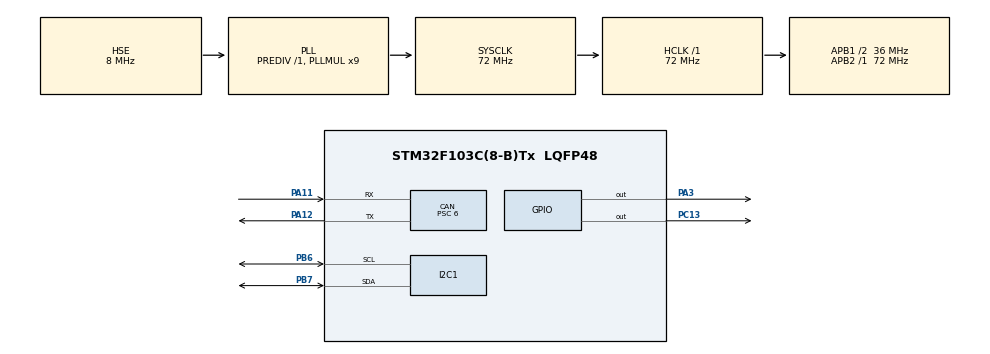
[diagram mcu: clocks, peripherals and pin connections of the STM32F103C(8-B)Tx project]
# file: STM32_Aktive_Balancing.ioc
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CAN.BS1=CAN_BS1_8TQ
CAN.BS2=CAN_BS2_3TQ
CAN.CalculateBaudRate=499999
CAN.CalculateTimeBit=2000
CAN.CalculateTimeQuantum=166.66666666666669
CAN.Prescaler=6
I2C1.DualAddressMode=I2C_DUALADDRESS_DISABLE
I2C1.GeneralCallMode=I2C_GENERALCALL_DISABLE
I2C1.I2C_Mode=I2C_Fast
I2C1.NoStretchMode=I2C_NOSTRETCH_DISABLE
Mcu.Family=STM32F1
Mcu.Name=STM32F103C(8-B)Tx
Mcu.Package=LQFP48
NVIC.PriorityGroup=NVIC_PRIORITYGROUP_4
NVIC.TIM2_IRQn=true\:0\:0\:false\:false\:true\:true\:true\:true
NVIC.USB_LP_CAN1_RX0_IRQn=true\:0\:0\:false\:false\:true\:true\:true\:true
PA11.GPIO_PuPd=GPIO_PULLUP
PA11.Mode=CAN_Activate
PA11.Signal=CAN_RX
PA12.GPIO_Speed=GPIO_SPEED_FREQ_HIGH
PA12.Mode=CAN_Activate
PA12.Signal=CAN_TX
PA13.Mode=Serial_Wire
PA13.Signal=SYS_JTMS-SWDIO
PA14.Mode=Serial_Wire
PA14.Signal=SYS_JTCK-SWCLK
PA3.Signal=GPIO_Output
PB6.GPIO_Speed=GPIO_SPEED_FREQ_HIGH
PB6.Mode=I2C
PB6.Signal=I2C1_SCL
PB7.GPIO_Speed=GPIO_SPEED_FREQ_HIGH
PB7.Mode=I2C
PB7.Signal=I2C1_SDA
PC13-TAMPER-RTC.Signal=GPIO_Output
PD0-OSC_IN.Mode=HSE-External-Oscillator
PD0-OSC_IN.Signal=RCC_OSC_IN
PD1-OSC_OUT.Mode=HSE-External-Oscillator
PD1-OSC_OUT.Signal=RCC_OSC_OUT
ProjectManager.HeapSize=0x200
ProjectManager.StackSize=0x400
ProjectManager.TargetToolchain=STM32CubeIDE
RCC.AHBFreq_Value=72000000
RCC.APB1CLKDivider=RCC_HCLK_DIV2
RCC.APB1Freq_Value=36000000
RCC.APB1TimFreq_Value=72000000
RCC.APB2Freq_Value=72000000
RCC.APB2TimFreq_Value=72000000
RCC.HCLKFreq_Value=72000000
RCC.PLLMUL=RCC_PLL_MUL9
RCC.PLLSourceVirtual=RCC_PLLSOURCE_HSE
RCC.SYSCLKFreq_VALUE=72000000
RCC.SYSCLKSource=RCC_SYSCLKSOURCE_PLLCLK
RCC.USBFreq_Value=72000000
TIM2.ClockDivision=TIM_CLOCKDIVISION_DIV2
TIM2.Period=1999
TIM2.Prescaler=35999
VP_TIM2_VS_ClockSourceINT.Mode=Internal
board=custom

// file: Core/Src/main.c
/* USER CODE BEGIN Header */
/**
  ******************************************************************************
  * @file           : main.c
  * @brief          : Main program body
  ******************************************************************************
  * @attention
  *
  * Copyright (c) 2026 STMicroelectronics.
  * All rights reserved.
  *
  * This software is licensed under terms that can be found in the LICENSE file
  * in the root directory of this software component.
  * If no LICENSE file comes with this software, it is provided AS-IS.
  *
  ******************************************************************************
  */
/* USER CODE END Header */
#include "main.h"

/* USER CODE BEGIN Includes */
#include "MCP4725.h"               // DAC
#include "pcf8575.h"
#include "tca9555.h"

/* USER CODE END Includes */

CAN_HandleTypeDef hcan;

I2C_HandleTypeDef hi2c1;

TIM_HandleTypeDef htim2;

HAL_StatusTypeDef statusDAC;
HAL_StatusTypeDef statusPort;

/* USER CODE BEGIN PV */
CAN_RxHeaderTypeDef rxHeader; 			//CAN Bus Receive Header
CAN_TxHeaderTypeDef txHeader; 			//CAN Bus Transmit Header
uint8_t canRX[8] = {0,0,0,0,0,0,0,0};  	//CAN Bus Receive Buffer
CAN_FilterTypeDef canfil; 				//CAN Bus Filter
uint32_t canMailbox;

uint32_t V_I_Bal_Soll;                   // Angabe in 0.01V (Maximaler Strom 2A => V_I_Bal_Soll=200)
uint32_t V_I_Bal_Soll_neu;
uint32_t V_I_Bal_Soll_Start = 0.01;

volatile uint32_t a = 0;
volatile uint32_t canID;
//volatile uint32_t canByte1;
//uint32_t canByte2;

MCP4725_t mcp4725;                       // DAC-Objekt
uint16_t DAC_digits;                     // 12-Bit Wert für Ausgang vom DAC => Vout = 3.3V * (DAC_digits/4095)

TCA9555_HandleTypeDef tca9555;
uint8_t Zelle;
uint8_t Zelle_neu;

uint8_t pwr_on_flag = 0;
uint8_t resend_flag = 0;

/* USER CODE END PV */

void SystemClock_Config(void);
static void MX_GPIO_Init(void);
static void MX_CAN_Init(void);
static void MX_I2C1_Init(void);
static void MX_TIM2_Init(void);

/* USER CODE BEGIN 0 */
void HAL_CAN_RxFifo0MsgPendingCallback(CAN_HandleTypeDef *hcan)
{
    HAL_CAN_GetRxMessage(hcan, CAN_RX_FIFO0, &rxHeader, canRX);

    canID = rxHeader.StdId;

    if(canID==0x0F1)
	{
		V_I_Bal_Soll_neu = canRX[0];
		Zelle_neu = canRX[1];
	}

}

/* USER CODE END 0 */

int main(void)
{

  /* MCU Configuration--------------------------------------------------------*/

  /* Reset of all peripherals, Initializes the Flash interface and the Systick. */
  HAL_Init();

  /* Configure the system clock */
  SystemClock_Config();

  /* Initialize all configured peripherals */
  MX_GPIO_Init();
  MX_CAN_Init();
  MX_I2C1_Init();
  MX_TIM2_Init();
  /* USER CODE BEGIN 2 */

  // Start Timer 2
  HAL_TIM_Base_Start_IT(&htim2);

  // Start CAN-Bus
  HAL_CAN_Start(&hcan);
  // CAN-Receive Interrupt
  HAL_CAN_ActivateNotification(&hcan, CAN_IT_RX_FIFO0_MSG_PENDING);

  // DAC starten
  MCP4725_Initialize(&mcp4725, &hi2c1, 0x60);     //0x60 ist die Adresse (ggf. ändern)

  DAC_digits=(uint16_t)( ( (double)(0.0)/3.2 *4095 ));
  MCP4725_SetVoltage(&mcp4725, DAC_digits, MCP4725_DAC_ONLY);

  TCA9555_Init(&tca9555, &hi2c1, 0x20);
  TCA9555_AllLow(&tca9555);

  //TCA9555_SetOutput(&tca9555,15);

  /* USER CODE END 2 */

  /* Infinite loop */
  while (1)
  {

    /* USER CODE BEGIN 3 */

	  //HAL_GPIO_TogglePin(GPIOC, GPIO_PIN_13);
	  //HAL_Delay(500);
	  //DAC_digits=(uint16_t)( ((0.1)/3.2 *4095.0 ));
	  //MCP4725_SetVoltage(&mcp4725, DAC_digits, MCP4725_DAC_ONLY);

	/*  if((V_I_Bal_Soll_neu != V_I_Bal_Soll)||(Zelle_neu != Zelle))       // neuen Wert einstellen
	  {

		 if(V_I_Bal_Soll_neu != 0)

		 {
			// if(pwr_on_flag == 0)
			// {
				// HAL_GPIO_WritePin(GPIOA, GPIO_PIN_3, GPIO_PIN_SET);     // Spannungsversorgung aktivieren
				// pwr_on_flag = 1;
				// HAL_Delay(1000);                                        // Einen Moment warten, bis alle Spannungen da sind

			// }

			 if (pwr_on_flag == 0)
			 {
			     // Schritt A: I2C-Peripherie stoppen UND Pins hochohmig schalten (Analog-Mode = Dioden inaktiv)
			     HAL_I2C_DeInit(&hi2c1);

			     GPIO_InitTypeDef GPIO_InitStruct = {0};
			     GPIO_InitStruct.Pin = GPIO_PIN_6 | GPIO_PIN_7;
			     GPIO_InitStruct.Mode = GPIO_MODE_ANALOG; // Verhindert Parasitärstrom während des Einschaltens
			     GPIO_InitStruct.Pull = GPIO_NOPULL;
			     HAL_GPIO_Init(GPIOB, &GPIO_InitStruct);

			     // Schritt B: Jetzt erst Spannung für die zweite Schaltung einschalten!
			     HAL_GPIO_WritePin(GPIOA, GPIO_PIN_3, GPIO_PIN_SET);
			     pwr_on_flag = 1;
			     HAL_Delay(100); // 100 ms reichen für stabile Spannung locker aus

			     // Schritt C: Pins auf Open-Drain umkonfigurieren für Bus-Clear
			     GPIO_InitStruct.Mode = GPIO_MODE_OUTPUT_OD;
			     GPIO_InitStruct.Pull = GPIO_PULLUP;
			     GPIO_InitStruct.Speed = GPIO_SPEED_FREQ_HIGH;
			     HAL_GPIO_Init(GPIOB, &GPIO_InitStruct);

			     // Beide Leitungen initial HIGH
			     HAL_GPIO_WritePin(GPIOB, GPIO_PIN_6 | GPIO_PIN_7, GPIO_PIN_SET);
			     HAL_Delay(1);

			     // Schritt D: 9 Taktimpulse auf SCL (PB6) geben
			     for (int i = 0; i < 9; i++)
			     {
			         HAL_GPIO_WritePin(GPIOB, GPIO_PIN_6, GPIO_PIN_RESET); // SCL LOW
			         HAL_Delay(1);
			         HAL_GPIO_WritePin(GPIOB, GPIO_PIN_6, GPIO_PIN_SET);   // SCL HIGH
			         HAL_Delay(1);
			     }

			     // Stop-Bedingung erzeugen: SDA geht von LOW auf HIGH während SCL HIGH ist
			     HAL_GPIO_WritePin(GPIOB, GPIO_PIN_7, GPIO_PIN_RESET); // SDA LOW
			     HAL_Delay(1);
			     HAL_GPIO_WritePin(GPIOB, GPIO_PIN_7, GPIO_PIN_SET);   // SDA HIGH
			     HAL_Delay(1);

			     // Schritt E: I2C-Peripherie-Reset & Neuinitialisierung
			     __HAL_RCC_I2C1_FORCE_RESET();
			     HAL_Delay(5);
			     __HAL_RCC_I2C1_RELEASE_RESET();

			     MX_I2C1_Init(); // Übernimmt Pins wieder als Alternate Function
			     HAL_Delay(20);
			 }

		 TCA9555_AllLow(&tca9555);

		 MCP4725_SetVoltage(&mcp4725, 0, MCP4725_DAC_ONLY);

		 HAL_Delay(1000);

		 }

		 V_I_Bal_Soll = V_I_Bal_Soll_neu;
		 Zelle = Zelle_neu;

		 DAC_digits=(uint16_t)( ( (double)(V_I_Bal_Soll_Start/100.0)/3.29 *4095.0 ));
		 MCP4725_SetVoltage(&mcp4725, DAC_digits, MCP4725_DAC_ONLY);

		 HAL_Delay(10);

		 if((V_I_Bal_Soll == 0) || (Zelle > 15))
		 {
			 TCA9555_AllLow(&tca9555);

			 HAL_Delay(1000);
			 HAL_GPIO_WritePin(GPIOA, GPIO_PIN_3, GPIO_PIN_RESET);
			 pwr_on_flag = 0;

		 }

		 else
		 {
			 TCA9555_SetOutput(&tca9555,Zelle);

			 HAL_Delay(100);

			 DAC_digits=(uint16_t)( ( (double)(V_I_Bal_Soll/100.0)/3.3 *4095.0 ));
			 MCP4725_SetVoltage(&mcp4725, DAC_digits, MCP4725_DAC_ONLY);                  // Sollstrom setzen
		 }
	  }

	  if(resend_flag && pwr_on_flag)
	  {
		  resend_flag = 0;
		  MCP4725_SetVoltage(&mcp4725, DAC_digits, MCP4725_DAC_ONLY);
		  TCA9555_SetOutput(&tca9555,Zelle);
	  }
*/

	  /* USER CODE BEGIN 3 */
	  if ((V_I_Bal_Soll_neu != V_I_Bal_Soll) || (Zelle_neu != Zelle))
	  {
	      if (V_I_Bal_Soll_neu != 0)
	      {
	          if (pwr_on_flag == 0)
	          {
	              // 1. I2C-Peripherie stoppen
	              HAL_I2C_DeInit(&hi2c1);

	              GPIO_InitTypeDef GPIO_InitStruct = {0};
	              GPIO_InitStruct.Pin = GPIO_PIN_6 | GPIO_PIN_7;
	              GPIO_InitStruct.Mode = GPIO_MODE_ANALOG;
	              GPIO_InitStruct.Pull = GPIO_NOPULL;
	              HAL_GPIO_Init(GPIOB, &GPIO_InitStruct);

	              // 2. Spannung für die float Schaltung aktivieren
	              HAL_GPIO_WritePin(GPIOA, GPIO_PIN_3, GPIO_PIN_SET);
	              pwr_on_flag = 1;
	              HAL_Delay(1000);

	              // 3. Pins als Open-Drain für manuelle Bus-Clear Taktung schalten
	              GPIO_InitStruct.Mode = GPIO_MODE_OUTPUT_OD;
	              GPIO_InitStruct.Pull = GPIO_PULLUP;
	              GPIO_InitStruct.Speed = GPIO_SPEED_FREQ_HIGH;
	              HAL_GPIO_Init(GPIOB, &GPIO_InitStruct);

	              HAL_GPIO_WritePin(GPIOB, GPIO_PIN_6 | GPIO_PIN_7, GPIO_PIN_SET);
	              HAL_Delay(1);

	              // 4. 9 Clock-Pulse an SCL (PB6) senden
	              for (int i = 0; i < 9; i++)
	              {
	                  HAL_GPIO_WritePin(GPIOB, GPIO_PIN_6, GPIO_PIN_RESET);
	                  HAL_Delay(1);
	                  HAL_GPIO_WritePin(GPIOB, GPIO_PIN_6, GPIO_PIN_SET);
	                  HAL_Delay(1);
	              }

	              // STOP-Bedingung erzeugen
	              HAL_GPIO_WritePin(GPIOB, GPIO_PIN_7, GPIO_PIN_RESET);
	              HAL_Delay(1);
	              HAL_GPIO_WritePin(GPIOB, GPIO_PIN_7, GPIO_PIN_SET);
	              HAL_Delay(1);

	              // 5. STM32 I2C-Hardware zurücksetzen und neu starten
	              __HAL_RCC_I2C1_FORCE_RESET();
	              HAL_Delay(5);
	              __HAL_RCC_I2C1_RELEASE_RESET();

	              MX_I2C1_Init();
	              HAL_Delay(20);

	              // Die beiden Slaves neu initialisieren
	              MCP4725_Initialize(&mcp4725, &hi2c1, 0x60);
	              TCA9555_Init(&tca9555, &hi2c1, 0x20);
	          }

	          TCA9555_AllLow(&tca9555);
	          MCP4725_SetVoltage(&mcp4725, 0, MCP4725_DAC_ONLY);

	          HAL_Delay(1000);
	      }

	      V_I_Bal_Soll = V_I_Bal_Soll_neu;
	      Zelle = Zelle_neu;

	      DAC_digits = (uint16_t)(((double)(V_I_Bal_Soll_Start / 100.0) / 3.29 * 4095.0));
	      MCP4725_SetVoltage(&mcp4725, DAC_digits, MCP4725_DAC_ONLY);

	      HAL_Delay(10);

	      if ((V_I_Bal_Soll == 0) || (Zelle > 15))
	      {
	          TCA9555_AllLow(&tca9555);

	          HAL_Delay(1000);
	          HAL_GPIO_WritePin(GPIOA, GPIO_PIN_3, GPIO_PIN_RESET);
	          pwr_on_flag = 0;
	      }
	      else
	      {
	          TCA9555_SetOutput(&tca9555, Zelle);

	          HAL_Delay(100);

	          DAC_digits = (uint16_t)(((double)(V_I_Bal_Soll / 100.0) / 3.3 * 4095.0));
	          MCP4725_SetVoltage(&mcp4725, DAC_digits, MCP4725_DAC_ONLY);
	      }
	  }

	  if (resend_flag && pwr_on_flag)
	  {
	      resend_flag = 0;
	      MCP4725_SetVoltage(&mcp4725, DAC_digits, MCP4725_DAC_ONLY);
	      TCA9555_SetOutput(&tca9555, Zelle);
	  }

  }
  /* USER CODE END 3 */
}

void SystemClock_Config(void)
{
  RCC_OscInitTypeDef RCC_OscInitStruct = {0};
  RCC_ClkInitTypeDef RCC_ClkInitStruct = {0};

  /** Initializes the RCC Oscillators according to the specified parameters
  * in the RCC_OscInitTypeDef structure.
  */
  RCC_OscInitStruct.OscillatorType = RCC_OSCILLATORTYPE_HSE;
  RCC_OscInitStruct.HSEState = RCC_HSE_ON;
  RCC_OscInitStruct.HSEPredivValue = RCC_HSE_PREDIV_DIV1;
  RCC_OscInitStruct.HSIState = RCC_HSI_ON;
  RCC_OscInitStruct.PLL.PLLState = RCC_PLL_ON;
  RCC_OscInitStruct.PLL.PLLSource = RCC_PLLSOURCE_HSE;
  RCC_OscInitStruct.PLL.PLLMUL = RCC_PLL_MUL9;
  if (HAL_RCC_OscConfig(&RCC_OscInitStruct) != HAL_OK)
  {
    Error_Handler();
  }

  /** Initializes the CPU, AHB and APB buses clocks
  */
  RCC_ClkInitStruct.ClockType = RCC_CLOCKTYPE_HCLK|RCC_CLOCKTYPE_SYSCLK
                              |RCC_CLOCKTYPE_PCLK1|RCC_CLOCKTYPE_PCLK2;
  RCC_ClkInitStruct.SYSCLKSource = RCC_SYSCLKSOURCE_PLLCLK;
  RCC_ClkInitStruct.AHBCLKDivider = RCC_SYSCLK_DIV1;
  RCC_ClkInitStruct.APB1CLKDivider = RCC_HCLK_DIV2;
  RCC_ClkInitStruct.APB2CLKDivider = RCC_HCLK_DIV1;

  if (HAL_RCC_ClockConfig(&RCC_ClkInitStruct, FLASH_LATENCY_2) != HAL_OK)
  {
    Error_Handler();
  }
}

static void MX_CAN_Init(void)
{

  hcan.Instance = CAN1;
  hcan.Init.Prescaler = 6;
  hcan.Init.Mode = CAN_MODE_NORMAL;
  hcan.Init.SyncJumpWidth = CAN_SJW_1TQ;
  hcan.Init.TimeSeg1 = CAN_BS1_8TQ;
  hcan.Init.TimeSeg2 = CAN_BS2_3TQ;
  hcan.Init.TimeTriggeredMode = DISABLE;
  hcan.Init.AutoBusOff = DISABLE;
  hcan.Init.AutoWakeUp = DISABLE;
  hcan.Init.AutoRetransmission = DISABLE;
  hcan.Init.ReceiveFifoLocked = DISABLE;
  hcan.Init.TransmitFifoPriority = DISABLE;
  if (HAL_CAN_Init(&hcan) != HAL_OK)
  {
    Error_Handler();
  }
  /* USER CODE BEGIN CAN_Init 2 */
  // Organize CAN-Bus
   canfil.FilterBank = 0;
   canfil.FilterMode = CAN_FILTERMODE_IDMASK;
   canfil.FilterFIFOAssignment = CAN_RX_FIFO0;
   canfil.FilterIdHigh = 0x699<<5;               // 0x699<<5
   canfil.FilterIdLow = 0;
   canfil.FilterMaskIdHigh = 0;           // 0x7FF<<5
   canfil.FilterMaskIdLow = 0;
   canfil.FilterScale = CAN_FILTERSCALE_32BIT;
   canfil.FilterActivation = CAN_FILTER_ENABLE;
   canfil.SlaveStartFilterBank = 13;

   txHeader.DLC = 8;
   txHeader.IDE = CAN_ID_STD;
   txHeader.RTR = CAN_RTR_DATA;
   txHeader.StdId = 0x69A;
   //txHeader.ExtId = 0x00;
   txHeader.TransmitGlobalTime = DISABLE;

   HAL_CAN_ConfigFilter(&hcan,&canfil);
  /* USER CODE END CAN_Init 2 */

}

static void MX_I2C1_Init(void)
{

  hi2c1.Instance = I2C1;
  hi2c1.Init.ClockSpeed = 400000;
  hi2c1.Init.DutyCycle = I2C_DUTYCYCLE_2;
  hi2c1.Init.OwnAddress1 = 0;
  hi2c1.Init.AddressingMode = I2C_ADDRESSINGMODE_7BIT;
  hi2c1.Init.DualAddressMode = I2C_DUALADDRESS_DISABLE;
  hi2c1.Init.OwnAddress2 = 0;
  hi2c1.Init.GeneralCallMode = I2C_GENERALCALL_DISABLE;
  hi2c1.Init.NoStretchMode = I2C_NOSTRETCH_DISABLE;
  if (HAL_I2C_Init(&hi2c1) != HAL_OK)
  {
    Error_Handler();
  }

}

static void MX_TIM2_Init(void)
{

  TIM_ClockConfigTypeDef sClockSourceConfig = {0};
  TIM_MasterConfigTypeDef sMasterConfig = {0};

  htim2.Instance = TIM2;
  htim2.Init.Prescaler = 35999;
  htim2.Init.CounterMode = TIM_COUNTERMODE_UP;
  htim2.Init.Period = 1999;
  htim2.Init.ClockDivision = TIM_CLOCKDIVISION_DIV2;
  htim2.Init.AutoReloadPreload = TIM_AUTORELOAD_PRELOAD_DISABLE;
  if (HAL_TIM_Base_Init(&htim2) != HAL_OK)
  {
    Error_Handler();
  }
  sClockSourceConfig.ClockSource = TIM_CLOCKSOURCE_INTERNAL;
  if (HAL_TIM_ConfigClockSource(&htim2, &sClockSourceConfig) != HAL_OK)
  {
    Error_Handler();
  }
  sMasterConfig.MasterOutputTrigger = TIM_TRGO_RESET;
  sMasterConfig.MasterSlaveMode = TIM_MASTERSLAVEMODE_DISABLE;
  if (HAL_TIMEx_MasterConfigSynchronization(&htim2, &sMasterConfig) != HAL_OK)
  {
    Error_Handler();
  }

}

static void MX_GPIO_Init(void)
{
  GPIO_InitTypeDef GPIO_InitStruct = {0};

  /* GPIO Ports Clock Enable */
  __HAL_RCC_GPIOC_CLK_ENABLE();
  __HAL_RCC_GPIOD_CLK_ENABLE();
  __HAL_RCC_GPIOA_CLK_ENABLE();
  __HAL_RCC_GPIOB_CLK_ENABLE();

  /*Configure GPIO pin Output Level */
  HAL_GPIO_WritePin(GPIOC, GPIO_PIN_13, GPIO_PIN_RESET);

  /*Configure GPIO pin Output Level */
  HAL_GPIO_WritePin(GPIOA, GPIO_PIN_3, GPIO_PIN_RESET);

  /*Configure GPIO pin : PC13 */
  GPIO_InitStruct.Pin = GPIO_PIN_13;
  GPIO_InitStruct.Mode = GPIO_MODE_OUTPUT_PP;
  GPIO_InitStruct.Pull = GPIO_NOPULL;
  GPIO_InitStruct.Speed = GPIO_SPEED_FREQ_LOW;
  HAL_GPIO_Init(GPIOC, &GPIO_InitStruct);

  /*Configure GPIO pin : PA3 */
  GPIO_InitStruct.Pin = GPIO_PIN_3;
  GPIO_InitStruct.Mode = GPIO_MODE_OUTPUT_PP;
  GPIO_InitStruct.Pull = GPIO_NOPULL;
  GPIO_InitStruct.Speed = GPIO_SPEED_FREQ_LOW;
  HAL_GPIO_Init(GPIOA, &GPIO_InitStruct);

}

/* USER CODE BEGIN 4 */
void HAL_TIM_PeriodElapsedCallback(TIM_HandleTypeDef *htim)
{
    if (htim->Instance == TIM2)
    {

    	//Damit man etwas sehen kann:
    	HAL_GPIO_TogglePin(GPIOC, GPIO_PIN_13);

    	resend_flag = 1;

    }
}

/* USER CODE END 4 */

void Error_Handler(void)
{
  __disable_irq();
  while (1)
  {
  }
}
